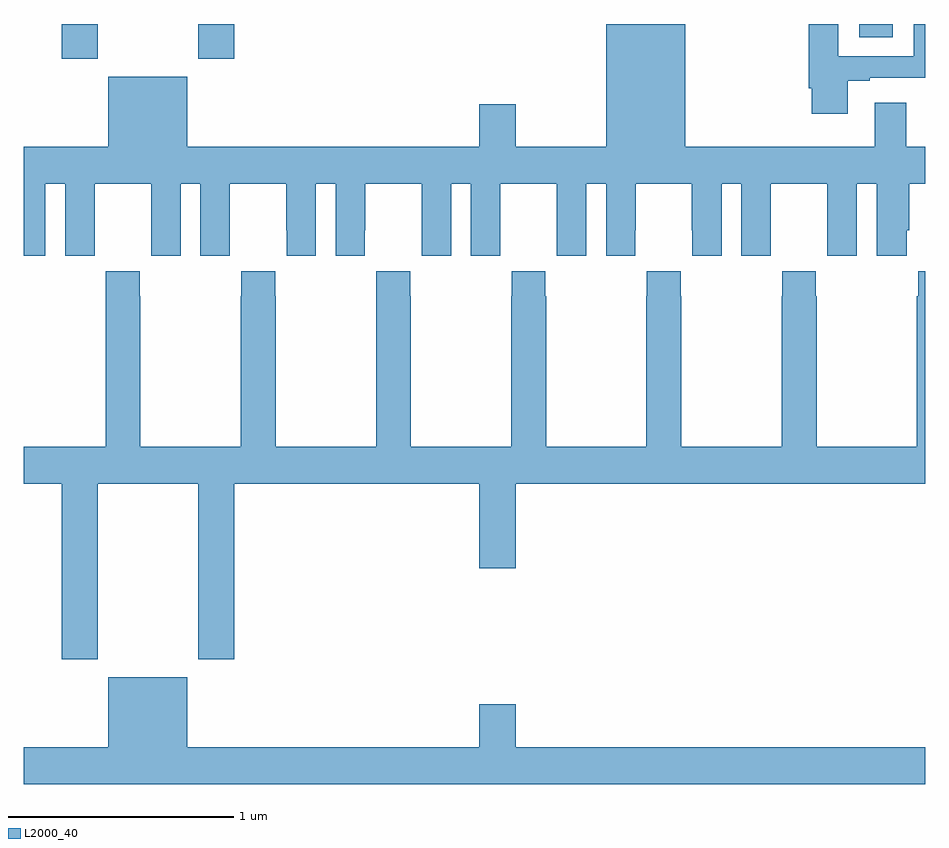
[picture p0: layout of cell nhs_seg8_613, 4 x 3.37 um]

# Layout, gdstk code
import gdstk
lib = gdstk.Library(unit=1e-6, precision=1e-09)
def R(c, l, rs):  # rectangles x0, y0, x1, y1
    for r in rs: c.add(gdstk.rectangle(r[:2], r[2:], *l))
def P(c, l, *ps):  # polygons
    for p in ps: c.add(gdstk.Polygon(p, *l))
L2000_40 = (2000, 40)

nhs_seg8_613 = lib.new_cell('nhs_seg8_613')
R(nhs_seg8_613, L2000_40, [(151.169,1091.745,151.329,1091.9), (151.774,1091.745,151.934,1091.9), (154.706,1091.842,154.855,1091.9)])
P(nhs_seg8_613, L2000_40, [(154.657,1091.649),(154.753,1091.649),(154.753,1091.661),(155,1091.661),(155,1091.9),(154.949,1091.9),(154.949,1091.757),(154.615,1091.757),(154.615,1091.9),(154.484,1091.9),(154.484,1091.614),(154.496,1091.614),(154.496,1091.502),(154.657,1091.502)],
  [(151.726,1091.665),(151.376,1091.665),(151.376,1091.356),(151,1091.356),(151,1090.872),(151.096,1090.872),(151.096,1091.192),(151.184,1091.192),(151.184,1090.872),(151.314,1090.872),(151.314,1090.984),(151.315,1090.984),(151.315,1091.192),(151.565,1091.192),(151.565,1090.984),(151.566,1090.984),(151.566,1090.872),(151.696,1090.872),(151.696,1091.192),(151.784,1091.192),(151.784,1090.872),(151.914,1090.872),(151.914,1090.984),(151.915,1090.984),(151.915,1091.192),(152.165,1091.192),(152.165,1090.984),(152.166,1090.984),(152.166,1090.872),(152.296,1090.872),(152.296,1091.192),(152.384,1091.192),(152.384,1090.872),(152.514,1090.872),(152.514,1090.984),(152.515,1090.984),(152.515,1091.192),(152.765,1091.192),(152.765,1090.984),(152.766,1090.984),(152.766,1090.872),(152.896,1090.872),(152.896,1091.192),(152.984,1091.192),(152.984,1090.872),(153.114,1090.872),(153.114,1090.984),(153.115,1090.984),(153.115,1091.192),(153.365,1091.192),(153.365,1090.984),(153.366,1090.984),(153.366,1090.872),(153.496,1090.872),(153.496,1091.192),(153.584,1091.192),(153.584,1090.872),(153.714,1090.872),(153.714,1090.984),(153.715,1090.984),(153.715,1091.192),(153.965,1091.192),(153.965,1090.984),(153.966,1090.984),(153.966,1090.872),(154.096,1090.872),(154.096,1091.192),(154.184,1091.192),(154.184,1090.872),(154.314,1090.872),(154.314,1090.984),(154.315,1090.984),(154.315,1091.192),(154.565,1091.192),(154.565,1090.984),(154.566,1090.984),(154.566,1090.872),(154.696,1090.872),(154.696,1091.192),(154.784,1091.192),(154.784,1090.872),(154.918,1090.872),(154.918,1090.984),(154.928,1090.984),(154.928,1091.192),(155,1091.192),(155,1091.356),(154.915,1091.356),(154.915,1091.551),(154.775,1091.551),(154.775,1091.356),(153.934,1091.356),(153.934,1091.9),(153.584,1091.9),(153.584,1091.356),(153.184,1091.356),(153.184,1091.545),(153.02,1091.545),(153.02,1091.356),(151.726,1091.356)],
  [(151.365,1090.804),(151.365,1090.691),(151.363,1090.691),(151.363,1090.024),(151,1090.024),(151,1089.86),(151.169,1089.86),(151.169,1089.081),(151.329,1089.081),(151.329,1089.86),(151.774,1089.86),(151.774,1089.081),(151.934,1089.081),(151.934,1089.86),(153.02,1089.86),(153.02,1089.486),(153.184,1089.486),(153.184,1089.86),(155,1089.86),(155,1090.804),(154.969,1090.804),(154.969,1090.691),(154.963,1090.691),(154.963,1090.024),(154.518,1090.024),(154.518,1090.691),(154.515,1090.691),(154.515,1090.804),(154.365,1090.804),(154.365,1090.691),(154.363,1090.691),(154.363,1090.024),(153.918,1090.024),(153.918,1090.691),(153.915,1090.691),(153.915,1090.804),(153.765,1090.804),(153.765,1090.691),(153.763,1090.691),(153.763,1090.024),(153.318,1090.024),(153.318,1090.691),(153.315,1090.691),(153.315,1090.804),(153.165,1090.804),(153.165,1090.691),(153.163,1090.691),(153.163,1090.024),(152.718,1090.024),(152.718,1090.691),(152.715,1090.691),(152.715,1090.804),(152.565,1090.804),(152.565,1090.691),(152.563,1090.691),(152.563,1090.024),(152.118,1090.024),(152.118,1090.691),(152.115,1090.691),(152.115,1090.804),(151.965,1090.804),(151.965,1090.691),(151.963,1090.691),(151.963,1090.024),(151.518,1090.024),(151.518,1090.691),(151.515,1090.691),(151.515,1090.804)],
  [(155,1088.692),(153.184,1088.692),(153.184,1088.881),(153.02,1088.881),(153.02,1088.692),(151.726,1088.692),(151.726,1089.001),(151.376,1089.001),(151.376,1088.692),(151,1088.692),(151,1088.528),(155,1088.528)])

lib.write_gds('nhs_seg8_613.gds')
